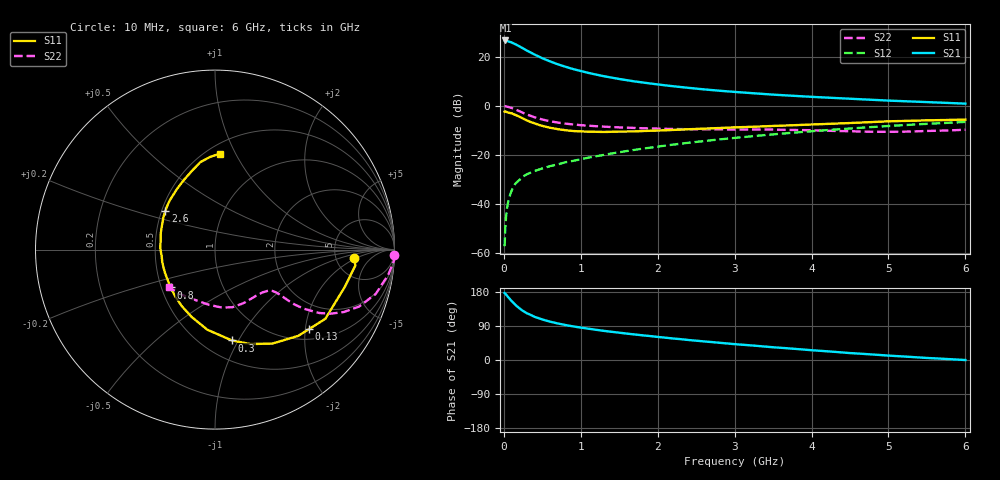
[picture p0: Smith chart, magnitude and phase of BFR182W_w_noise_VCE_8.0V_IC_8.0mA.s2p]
! Infineon Technologies  Discrete & RF Semiconductors
! BFR182W
! VCE =  8.0 V,  IC =  8.0 mA
! Common Emitter S-Parameters:  Jan 2017
# GHz  S  MA  R  50
!  f  S11  S21  S12  S22
! GHz  MAG  ANG  MAG  ANG  MAG  ANG  MAG  ANG
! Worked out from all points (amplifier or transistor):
!   77 points, 10 MHz to 6 GHz, reference 50 ohm
!   highest |S21| = 26.9 dB at 20 MHz (marker M1)
!   |S21| within 3 dB of that: start of sweep to 236.2 MHz
!   unconditionally stable (mu >= 1): 1.173 GHz to 2.696 GHz
!   at 130 MHz: K = 0.23, MSG = 29.1 dB, |S12| = -32.7 dB
!   at 2.2 GHz: K = 1.03, MAG = 10.8 dB, |S12| = -15.6 dB
!   at 6 GHz: K = 0.85, MSG = 3.7 dB, |S12| = -6.4 dB
!   lowest NFmin = 1.00 dB at 450 MHz
!   S11 on the Smith chart (normalised r, x): 10 MHz: 7.55, -1.70; 130 MHz: 1.25, -2.10; 300 MHz: 0.68, -0.94; 800 MHz: 0.56, -0.26; 2.6 GHz: 0.52, +0.26; 6 GHz: 0.58, +0.86
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0.01  0.7763 -3.3  21.89 176.9  0.0014 80.6  0.9972 -1.6
0.02  0.7871 -6.5  22.03 174.8  0.0037 88.0  0.999 -3.5
0.05  0.7518 -16.2  21.37 167.4  0.0101 80.8  0.9754 -8.3
0.1  0.7257 -32.1  20.14 155.8  0.0188 75.9  0.9285 -15.5
0.13  0.6861 -40.2  19.07 149.8  0.0233 71.8  0.8879 -19.1
0.15  0.668 -46.0  18.48 145.5  0.0264 69.9  0.8628 -21.6
0.2  0.6138 -58.5  16.76 136.8  0.0312 65.4  0.7969 -25.9
0.25  0.562 -69.5  15.18 129.3  0.037 62.3  0.7349 -29.1
0.3  0.5151 -79.4  13.68 123.3  0.041 60.8  0.6798 -31.3
0.4  0.4483 -95.5  11.36 113.8  0.0478 59.0  0.5959 -33.6
0.5  0.3976 -109.0  9.558 106.9  0.0539 58.2  0.5372 -34.6
0.6  0.3649 -120.6  8.243 101.2  0.0601 58.1  0.4955 -34.8
0.7  0.3419 -130.5  7.208 96.5  0.0652 59.4  0.4654 -34.8
0.8  0.3251 -139.6  6.413 92.3  0.0721 60.5  0.443 -34.8
1.1  0.3037 -161.4  4.801 82.6  0.0896 62.5  0.4017 -35.5
1.5  0.3049 178.1  3.609 72.1  0.1155 64.1  0.3711 -38.4
2.1  0.324 155.9  2.676 58.9  0.1578 63.8  0.3469 -46.7
2.6  0.3501 142.3  2.215 49.1  0.1949 62.1  0.3385 -56.1
3.1  0.3758 130.8  1.915 40.3  0.2343 59.4  0.3359 -65.7
4.1  0.4309 112.4  1.531 24.4  0.3178 52.4  0.3209 -85.6
5.1  0.4981 98.2  1.288 10.4  0.4043 43.5  0.302 -114.5
6  0.535 87.3  1.133 -0.1  0.4794 34.5  0.3326 -141.1
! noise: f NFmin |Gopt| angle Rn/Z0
0.45  1  0.12  39  0.15
0.9  1.08  0.12  69  0.15
1.9  1.59  0.18  -174  0.13
2.4  1.85  0.18  -169  0.19
